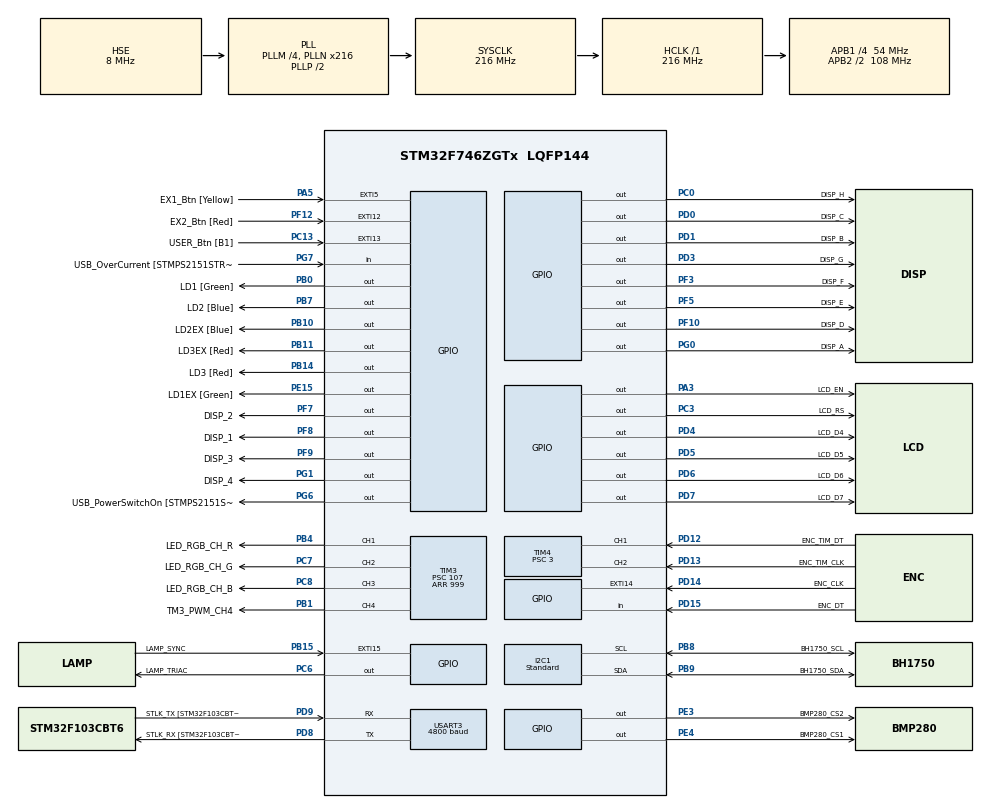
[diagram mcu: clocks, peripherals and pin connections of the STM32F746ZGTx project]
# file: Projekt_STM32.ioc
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ARM.CMSIS.5.7.0.CMSISJjCORE=true
ARM.CMSIS.5.7.0.CMSISJjDSP=Library
I2C1.I2C_Speed_Mode=I2C_Standard
I2C1.Timing=0x20404768
Mcu.Family=STM32F7
Mcu.Name=STM32F746ZGTx
Mcu.Package=LQFP144
NVIC.EXTI15_10_IRQn=true\:0\:0\:false\:false\:true\:true\:true
NVIC.EXTI9_5_IRQn=true\:0\:0\:false\:false\:true\:true\:true
NVIC.PriorityGroup=NVIC_PRIORITYGROUP_4
NVIC.TIM2_IRQn=true\:0\:0\:false\:false\:true\:true\:true
NVIC.TIM4_IRQn=true\:0\:0\:false\:false\:true\:true\:true
NVIC.USART3_IRQn=true\:0\:0\:false\:false\:true\:true\:true
PA1.GPIO_Label=RMII_REF_CLK [LAN8742A-CZ-TR_REFCLK0]
PA1.Signal=ETH_REF_CLK
PA10.GPIO_Label=USB_ID
PA10.Signal=USB_OTG_FS_ID
PA11.GPIO_Label=USB_DM
PA11.Signal=USB_OTG_FS_DM
PA12.GPIO_Label=USB_DP
PA12.Signal=USB_OTG_FS_DP
PA13.GPIO_Label=TMS
PA13.Mode=Serial_Wire
PA13.Signal=SYS_JTMS-SWDIO
PA14.GPIO_Label=TCK
PA14.Mode=Serial_Wire
PA14.Signal=SYS_JTCK-SWCLK
PA2.GPIO_Label=RMII_MDIO [LAN8742A-CZ-TR_MDIO]
PA2.Signal=ETH_MDIO
PA3.GPIO_Label=LCD_EN
PA3.Signal=GPIO_Output
PA4.GPIO_Label=OSC_AOUT
PA4.Signal=COMP_DAC1_group
PA5.GPIO_Label=EX1_Btn [Yellow]
PA5.GPIO_ModeDefaultEXTI=GPIO_MODE_IT_FALLING
PA5.Signal=GPXTI5
PA6.GPIO_Label=POT2_AIN
PA6.Signal=ADCx_IN6
PA8.GPIO_Label=USB_SOF [TP1]
PA8.Signal=USB_OTG_FS_SOF
PA9.GPIO_Label=USB_VBUS
PA9.Signal=USB_OTG_FS_VBUS
PB0.GPIO_Label=LD1 [Green]
PB0.Signal=GPIO_Output
PB1.GPIO_Label=TM3_PWM_CH4
PB1.Signal=S_TIM3_CH4
PB10.GPIO_Label=LD2EX [Blue]
PB10.Signal=GPIO_Output
PB11.GPIO_Label=LD3EX [Red]
PB11.Signal=GPIO_Output
PB13.GPIO_Label=RMII_TXD1 [LAN8742A-CZ-TR_TXD1]
PB13.Signal=ETH_TXD1
PB14.GPIO_Label=LD3 [Red]
PB14.Signal=GPIO_Output
PB15.GPIO_Label=LAMP_SYNC
PB15.Signal=GPXTI15
PB3.GPIO_Label=SW0
PB3.Signal=SYS_JTDO-SWO
PB4.GPIO_Label=LED_RGB_CH_R
PB4.Signal=S_TIM3_CH1
PB7.GPIO_Label=LD2 [Blue]
PB7.Signal=GPIO_Output
PB8.GPIO_Label=BH1750_SCL
PB8.Mode=I2C
PB8.Signal=I2C1_SCL
PB9.GPIO_Label=BH1750_SDA
PB9.Mode=I2C
PB9.Signal=I2C1_SDA
PC0.GPIO_Label=DISP_H
PC0.GPIO_ModeDefaultOutputPP=GPIO_MODE_OUTPUT_OD
PC0.GPIO_PuPd=GPIO_PULLUP
PC0.Signal=GPIO_Output
PC1.GPIO_Label=RMII_MDC [LAN8742A-CZ-TR_MDC]
PC1.Signal=ETH_MDC
PC13.GPIO_Label=USER_Btn [B1]
PC13.Signal=GPXTI13
PC14/OSC32_IN.Mode=LSE-External-Oscillator
PC14/OSC32_IN.Signal=RCC_OSC32_IN
PC15/OSC32_OUT.Mode=LSE-External-Oscillator
PC15/OSC32_OUT.Signal=RCC_OSC32_OUT
PC2.GPIO_Label=POT1_AIN
PC2.Signal=ADCx_IN12
PC3.GPIO_Label=LCD_RS
PC3.Signal=GPIO_Output
PC4.GPIO_Label=RMII_RXD0 [LAN8742A-CZ-TR_RXD0]
PC4.Signal=ETH_RXD0
PC5.GPIO_Label=RMII_RXD1 [LAN8742A-CZ-TR_RXD1]
PC5.Signal=ETH_RXD1
PC6.GPIO_Label=LAMP_TRIAC
PC6.GPIO_Speed=GPIO_SPEED_FREQ_HIGH
PC6.Signal=GPIO_Output
PC7.GPIO_Label=LED_RGB_CH_G
PC7.Signal=S_TIM3_CH2
PC8.GPIO_Label=LED_RGB_CH_B
PC8.Signal=S_TIM3_CH3
PD0.GPIO_Label=DISP_C
PD0.GPIO_ModeDefaultOutputPP=GPIO_MODE_OUTPUT_OD
PD0.GPIO_PuPd=GPIO_PULLUP
PD0.Signal=GPIO_Output
PD1.GPIO_Label=DISP_B
PD1.GPIO_ModeDefaultOutputPP=GPIO_MODE_OUTPUT_OD
PD1.GPIO_PuPd=GPIO_PULLUP
PD1.Signal=GPIO_Output
PD12.GPIO_Label=ENC_TIM_DT
PD12.Signal=S_TIM4_CH1
PD13.GPIO_Label=ENC_TIM_CLK
PD13.Signal=S_TIM4_CH2
PD14.GPIO_Label=ENC_CLK
PD14.GPIO_ModeDefaultEXTI=GPIO_MODE_IT_FALLING
PD14.Signal=GPXTI14
PD15.GPIO_Label=ENC_DT
PD15.Signal=GPIO_Input
PD3.GPIO_Label=DISP_G
PD3.GPIO_ModeDefaultOutputPP=GPIO_MODE_OUTPUT_OD
PD3.GPIO_PuPd=GPIO_PULLUP
PD3.Signal=GPIO_Output
PD4.GPIO_Label=LCD_D4
PD4.Signal=GPIO_Output
PD5.GPIO_Label=LCD_D5
PD5.Signal=GPIO_Output
PD6.GPIO_Label=LCD_D6
PD6.Signal=GPIO_Output
PD7.GPIO_Label=LCD_D7
PD7.Signal=GPIO_Output
PD8.GPIO_Label=STLK_RX [STM32F103CBT6_PA3]
PD8.Mode=Asynchronous
PD8.Signal=USART3_TX
PD9.GPIO_Label=STLK_TX [STM32F103CBT6_PA2]
PD9.Mode=Asynchronous
PD9.Signal=USART3_RX
PE15.GPIO_Label=LD1EX [Green]
PE15.Signal=GPIO_Output
PE2.GPIO_Label=BMP280_SCK
PE2.Signal=SPI4_SCK
PE3.GPIO_Label=BMP280_CS2
PE3.GPIO_Speed=GPIO_SPEED_FREQ_VERY_HIGH
PE3.PinState=GPIO_PIN_SET
PE3.Signal=GPIO_Output
PE4.GPIO_Label=BMP280_CS1
PE4.GPIO_Speed=GPIO_SPEED_FREQ_VERY_HIGH
PE4.PinState=GPIO_PIN_SET
PE4.Signal=GPIO_Output
PE5.GPIO_Label=BMP280_MISO
PE5.Signal=SPI4_MISO
PE6.GPIO_Label=BMP280_MOSI
PE6.Signal=SPI4_MOSI
PF10.GPIO_Label=DISP_D
PF10.GPIO_ModeDefaultOutputPP=GPIO_MODE_OUTPUT_OD
PF10.GPIO_PuPd=GPIO_PULLUP
PF10.Signal=GPIO_Output
PF12.GPIO_Label=EX2_Btn [Red]
PF12.Signal=GPXTI12
PF3.GPIO_Label=DISP_F
PF3.GPIO_ModeDefaultOutputPP=GPIO_MODE_OUTPUT_OD
PF3.GPIO_PuPd=GPIO_PULLUP
PF3.Signal=GPIO_Output
PF5.GPIO_Label=DISP_E
PF5.GPIO_ModeDefaultOutputPP=GPIO_MODE_OUTPUT_OD
PF5.GPIO_PuPd=GPIO_PULLUP
PF5.Signal=GPIO_Output
PF7.GPIO_Label=DISP_2
PF7.Signal=GPIO_Output
PF8.GPIO_Label=DISP_1
PF8.Signal=GPIO_Output
PF9.GPIO_Label=DISP_3
PF9.Signal=GPIO_Output
PG0.GPIO_Label=DISP_A
PG0.GPIO_ModeDefaultOutputPP=GPIO_MODE_OUTPUT_OD
PG0.GPIO_PuPd=GPIO_PULLUP
PG0.Signal=GPIO_Output
PG1.GPIO_Label=DISP_4
PG1.Signal=GPIO_Output
PG11.GPIO_Label=RMII_TX_EN [LAN8742A-CZ-TR_TXEN]
PG11.Signal=ETH_TX_EN
PG13.GPIO_Label=RMII_TXD0 [LAN8742A-CZ-TR_TXD0]
PG13.Signal=ETH_TXD0
PG6.GPIO_Label=USB_PowerSwitchOn [STMPS2151STR_EN]
PG6.Signal=GPIO_Output
PG7.GPIO_Label=USB_OverCurrent [STMPS2151STR_FAULT]
PG7.Signal=GPIO_Input
PH0/OSC_IN.GPIO_Label=MCO [STM32F103CBT6_PA8]
PH0/OSC_IN.Mode=HSE-External-Clock-Source
PH0/OSC_IN.Signal=RCC_OSC_IN
PH1/OSC_OUT.Mode=HSE-External-Clock-Source
PH1/OSC_OUT.Signal=RCC_OSC_OUT
ProjectManager.HeapSize=0x200
ProjectManager.StackSize=0x400
ProjectManager.TargetToolchain=STM32CubeIDE
RCC.48MHZClocksFreq_Value=24000000
RCC.AHBFreq_Value=216000000
RCC.APB1CLKDivider=RCC_HCLK_DIV4
RCC.APB1Freq_Value=54000000
RCC.APB1TimFreq_Value=108000000
RCC.APB2CLKDivider=RCC_HCLK_DIV2
RCC.APB2Freq_Value=108000000
RCC.APB2TimFreq_Value=216000000
RCC.CortexFreq_Value=216000000
RCC.HCLKFreq_Value=216000000
RCC.HSE_VALUE=8000000
RCC.HSI_VALUE=16000000
RCC.PLLM=4
RCC.PLLMUL=RCC_PLL_MUL9
RCC.PLLN=216
RCC.PLLQ=3
RCC.PLLSourceVirtual=RCC_PLLSOURCE_HSE
RCC.PRESCALERUSB=RCC_USBCLKSOURCE_PLL_DIV1_5
RCC.SYSCLKFreq_VALUE=216000000
RCC.SYSCLKSource=RCC_SYSCLKSOURCE_PLLCLK
RCC.SYSCLKSourceVirtual=RCC_SYSCLKSOURCE_PLLCLK
RCC.USBFreq_Value=144000000
RCC.VCOOutputFreq_Value=432000000
SH.ADCx_IN12.0=ADC1_IN12
SH.ADCx_IN6.0=ADC1_IN6
SH.COMP_DAC1_group.0=DAC_OUT1
SH.S_TIM3_CH1.0=TIM3_CH1,PWM Generation1 CH1
SH.S_TIM3_CH2.0=TIM3_CH2,PWM Generation2 CH2
SH.S_TIM3_CH3.0=TIM3_CH3,PWM Generation3 CH3
SH.S_TIM3_CH4.0=TIM3_CH4,PWM Generation4 CH4
SH.S_TIM4_CH1.0=TIM4_CH1,Encoder_Interface
SH.S_TIM4_CH2.0=TIM4_CH2,Encoder_Interface
TIM2.Period=19999
TIM2.Prescaler=107
TIM3.Channel-PWM\ Generation1\ CH1=TIM_CHANNEL_1
TIM3.Channel-PWM\ Generation2\ CH2=TIM_CHANNEL_2
TIM3.Channel-PWM\ Generation3\ CH3=TIM_CHANNEL_3
TIM3.Channel-PWM\ Generation4\ CH4=TIM_CHANNEL_4
TIM3.Period=999
TIM3.Prescaler=107
TIM3.Pulse-PWM\ Generation2\ CH2=0
TIM3.Pulse-PWM\ Generation3\ CH3=0
TIM4.EncoderMode=TIM_ENCODERMODE_TI12
TIM4.IC1Polarity=TIM_ICPOLARITY_FALLING
TIM4.IC2Polarity=TIM_ICPOLARITY_FALLING
TIM4.Period=100
TIM4.Prescaler=3
TIM5.Prescaler=107
USART3.AutoBaudRateEnableParam=UART_ADVFEATURE_AUTOBAUDRATE_DISABLE
USART3.BaudRate=4800
USART3.VirtualMode-Asynchronous=VM_ASYNC
VP_ARM.CMSIS_VS_CMSISJjCORE_5.4.0_5.7.0.Mode=CMSISJjCORE
VP_ARM.CMSIS_VS_CMSISJjDSP_1.8.0_5.7.0.Mode=CMSISJjDSP
VP_TIM2_VS_ClockSourceINT.Mode=Internal
VP_TIM3_VS_ClockSourceINT.Mode=Internal
VP_TIM5_VS_ClockSourceINT.Mode=Internal
board=NUCLEO-F746ZG

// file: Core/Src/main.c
/* USER CODE BEGIN Header */
/**
  ******************************************************************************
  * @file           : main.c
  * @brief          : Main program body
  ******************************************************************************
  * @attention
  *
  * <h2><center>&copy; Copyright (c) 2021 STMicroelectronics.
  * All rights reserved.</center></h2>
  *
  * This software component is licensed by ST under BSD 3-Clause license,
  * the "License"; You may not use this file except in compliance with the
  * License. You may obtain a copy of the License at:
  *                        opensource.org/licenses/BSD-3-Clause
  *
  ******************************************************************************
  */
/* USER CODE END Header */
#include "main.h"
#include "i2c.h"
#include "tim.h"
#include "usart.h"
#include "gpio.h"

/* USER CODE BEGIN Includes */
#include "arm_math.h"
#include "math.h"
#include "sensor_bh1750.h"
#include "sensor_bh1750_config.h"
#include "stdio.h"
#include "lcd.h"
#include "lcd_config.h"
/* USER CODE END Includes */

/* USER CODE BEGIN PTD */
typedef enum {FALSE = 0, TRUE} bool;
/* USER CODE END PTD */

/* USER CODE BEGIN PD */
#define enc_counter_min     2
#define enc_counter_step    1

// size of message
#define SP_MSG_SIZE 3

/* Choose PID parameters */
#define PID_PARAM_KP        3.0f              /* Proporcional */
#define PID_PARAM_KI        1.5f              /* Integral */
#define PID_PARAM_KD        0.0f              /* Derivative */
/* USER CODE END PD */

/* USER CODE BEGIN PV */

uint8_t enc_counter_max = 110;

// Instance of PID
arm_pid_instance_f32 pid;

uint32_t set_point = 0.0f;
uint32_t LED_lux_int = 0;
uint32_t enc_counter = enc_counter_min;

float32_t LED_lux = 0.0f;
float32_t PID_out = 0.0f;
float32_t PID_error = 0.0f;
float32_t PID_error_in_procent = 0.0f;
float32_t d_PWM = 0.0f;

bool BTN_State_1 = FALSE;      // toggle to switch number of LEDs
bool LCD_show_ERROR = FALSE;   // toggle to switch screens on lcd

// USART3
uint8_t tx_n;
uint8_t tx_buffer[50];
uint8_t RX_DATA[SP_MSG_SIZE + 1];

/* USER CODE END PV */

void SystemClock_Config(void);

/* USER CODE BEGIN 0 */
void HAL_TIM_PeriodElapsedCallback(TIM_HandleTypeDef *htim)
{
	if(htim->Instance == TIM2)
	{
		// reading from the sensor and writing the value to the variable LED_lux
		LED_lux = SENSOR_BH1750_ReadLux(&hbh1750_1);
		// convert float32_t to uint32_t
		LED_lux_int = (uint32_t)LED_lux;
		tx_n = sprintf(tx_buffer, "%03x", LED_lux_int);
		// send a message if the condition is true
		if(tx_n == SP_MSG_SIZE )
			 HAL_UART_Transmit(&huart3, (uint8_t*)tx_buffer, tx_n, 1);

		/* CONTROL PROCESS PID */
		PID_error = set_point - LED_lux;
		PID_error_in_procent = (fabs(PID_error) / (enc_counter_max - enc_counter_min)) * 100;
		PID_out = arm_pid_f32(&pid, PID_error);

		// Additional visualization of the correctness of the regulation system
		if(PID_error_in_procent <= 1.0 )
		{
			// if correct turn green LED (LD1) on and turn red LED (LD3) off
			HAL_GPIO_WritePin(LD1_GPIO_Port, LD1_Pin, GPIO_PIN_SET);
			HAL_GPIO_WritePin(LD3_GPIO_Port, LD3_Pin, GPIO_PIN_RESET);
		}
		else
		{
			// if not correct turn green LED (LD1) off and turn red LED (LD3) on
			HAL_GPIO_WritePin(LD3_GPIO_Port, LD3_Pin, GPIO_PIN_SET);
			HAL_GPIO_WritePin(LD1_GPIO_Port, LD1_Pin, GPIO_PIN_RESET);
		}

		// Output saturation
		if(PID_out > 1000)
		{
			d_PWM = 1000;
		}
		else if(PID_out < 0)
		{
			d_PWM = 0;
		}
		else
		{
			d_PWM = PID_out;
		}

		// PWM filling control of diodes
		if(BTN_State_1)
		{
			__HAL_TIM_SET_COMPARE(&htim3, TIM_CHANNEL_1, d_PWM);
			__HAL_TIM_SET_COMPARE(&htim3, TIM_CHANNEL_2, d_PWM);
		}
		else
		{
			__HAL_TIM_SET_COMPARE(&htim3, TIM_CHANNEL_1, 0);
			__HAL_TIM_SET_COMPARE(&htim3, TIM_CHANNEL_2, d_PWM);
		}
	}
}

void HAL_GPIO_EXTI_Callback(uint16_t GPIO_Pin)
{
	if(GPIO_Pin == ENC_CLK_Pin) // Rotary pulser for setting the value of control 'set_point'
	{
		 if (HAL_GPIO_ReadPin(ENC_DT_GPIO_Port, ENC_DT_Pin) == GPIO_PIN_RESET)
		 {
			 enc_counter = (enc_counter >= enc_counter_max) ? enc_counter_max :	(enc_counter + enc_counter_step);
			 set_point = enc_counter;
		 }
		 else
		 {
			 enc_counter = (enc_counter <= enc_counter_min) ? enc_counter_min :	(enc_counter - enc_counter_step);
			 set_point = enc_counter;
		 }
	}
	else if(GPIO_Pin == EX1_Btn_Pin) // button for switching the number of LEDs
	{
		BTN_State_1 = !BTN_State_1;
		if(BTN_State_1 == TRUE)
		{
			enc_counter_max = 180;
		}
		else
		{
			enc_counter_max = 110;
			if(set_point > enc_counter_max)
			{
				set_point = enc_counter_max;
			}
		}
	}
	else if(GPIO_Pin == EX2_Btn_Pin)  // button to switch the lcd screen
	{
		LCD_show_ERROR = !LCD_show_ERROR;
	}
}

void HAL_UART_RxCpltCallback( UART_HandleTypeDef *huart )
{
	if( huart->Instance == USART3 )
	{
		/* Set point value read from serial port . */
		static int UART_set_point;
		/* Number of items successfully filled by 'sscanf '. */
		static int rx_n;
		/* Three - digit hexadecimal number : C- string to integer . */
		rx_n = sscanf((char*)RX_DATA, "%3x", &UART_set_point );
		/* If conversion if successful set set_point value or set control by one or two LEDs . */
		if( rx_n == 1){
			set_point = (uint32_t)UART_set_point;
			enc_counter = (uint32_t)UART_set_point;
		}
		else if( RX_DATA[0] == 'T' && RX_DATA[1] == 'W' && RX_DATA[2] == 'O' ){
			BTN_State_1 = TRUE;
			enc_counter_max = 180;
		}
		else if( RX_DATA[0] == 'O' && RX_DATA[1] == 'N' && RX_DATA[2] == 'E' ){
			BTN_State_1 = FALSE;
			enc_counter_max = 110;
			if(set_point > enc_counter_max)
			{
				set_point = enc_counter_max;
			}
		}
		/* Start listening for the next message . */
		HAL_UART_Receive_IT(&huart3, RX_DATA, SP_MSG_SIZE);
	}
}
/* USER CODE END 0 */

int main(void)
{

  /* MCU Configuration--------------------------------------------------------*/

  /* Reset of all peripherals, Initializes the Flash interface and the Systick. */
  HAL_Init();

  /* Configure the system clock */
  SystemClock_Config();

  /* Initialize all configured peripherals */
  MX_GPIO_Init();
  MX_USART3_UART_Init();
  MX_TIM2_Init();
  MX_TIM3_Init();
  MX_TIM4_Init();
  MX_I2C1_Init();
  MX_TIM5_Init();
  /* USER CODE BEGIN 2 */

  // Sensor init
  SENSOR_BH1750_Init(&hbh1750_1);

  // Starting values
  LED_lux = 2.0f;
  set_point = 2.0;

  /****  PID  ****/
  // Set the PID parameters
  pid.Kp = PID_PARAM_KP;
  pid.Ki = PID_PARAM_KI;
  pid.Kd = PID_PARAM_KD;
  // Init PID with constant period
  arm_pid_init_f32(&pid, 1);
  __HAL_TIM_SET_AUTORELOAD(&htim2, 129999);
  HAL_TIM_Base_Start_IT(&htim2);

  // Init PWM channels of TIM3
  HAL_TIM_PWM_Start(&htim3, TIM_CHANNEL_1);
  HAL_TIM_PWM_Start(&htim3, TIM_CHANNEL_2);

  // Init lcd
  LCD_Init(&hlcd1);

  // USART3
  HAL_UART_Receive_IT(&huart3, RX_DATA, SP_MSG_SIZE);

  /* USER CODE END 2 */

  /* Infinite loop */
  while (1)
  {
	  if(LCD_show_ERROR)
	  {
		  LCD_SetCursor(&hlcd1, 0, 0);
		  LCD_printf(&hlcd1, "ERROR: %5.2f [ ]", PID_error_in_procent);
		  // LCD_SetCursor(&hlcd1, 0, 14);
		  // lcd_write(&hlcd1, &data, 8);
		  LCD_SetCursor(&hlcd1, 1, 0);
		  LCD_printStr(&hlcd1, "               ");
	  }
	  else
	  {
		  LCD_SetCursor(&hlcd1, 0, 0);
		  LCD_printf(&hlcd1, "WYJ: %5.2f [lux] ", (float32_t)LED_lux);
		  LCD_SetCursor(&hlcd1, 1, 0);
		  LCD_printf(&hlcd1, "ZAD: %03d [lux]  ", (uint32_t)set_point);
	  }
	  HAL_Delay(100);
  }
}

void SystemClock_Config(void)
{
  RCC_OscInitTypeDef RCC_OscInitStruct = {0};
  RCC_ClkInitTypeDef RCC_ClkInitStruct = {0};
  RCC_PeriphCLKInitTypeDef PeriphClkInitStruct = {0};

  /** Configure LSE Drive Capability
  */
  HAL_PWR_EnableBkUpAccess();
  /** Configure the main internal regulator output voltage
  */
  __HAL_RCC_PWR_CLK_ENABLE();
  __HAL_PWR_VOLTAGESCALING_CONFIG(PWR_REGULATOR_VOLTAGE_SCALE1);
  /** Initializes the RCC Oscillators according to the specified parameters
  * in the RCC_OscInitTypeDef structure.
  */
  RCC_OscInitStruct.OscillatorType = RCC_OSCILLATORTYPE_HSE;
  RCC_OscInitStruct.HSEState = RCC_HSE_BYPASS;
  RCC_OscInitStruct.PLL.PLLState = RCC_PLL_ON;
  RCC_OscInitStruct.PLL.PLLSource = RCC_PLLSOURCE_HSE;
  RCC_OscInitStruct.PLL.PLLM = 4;
  RCC_OscInitStruct.PLL.PLLN = 216;
  RCC_OscInitStruct.PLL.PLLP = RCC_PLLP_DIV2;
  RCC_OscInitStruct.PLL.PLLQ = 3;
  if (HAL_RCC_OscConfig(&RCC_OscInitStruct) != HAL_OK)
  {
    Error_Handler();
  }
  /** Activate the Over-Drive mode
  */
  if (HAL_PWREx_EnableOverDrive() != HAL_OK)
  {
    Error_Handler();
  }
  /** Initializes the CPU, AHB and APB buses clocks
  */
  RCC_ClkInitStruct.ClockType = RCC_CLOCKTYPE_HCLK|RCC_CLOCKTYPE_SYSCLK
                              |RCC_CLOCKTYPE_PCLK1|RCC_CLOCKTYPE_PCLK2;
  RCC_ClkInitStruct.SYSCLKSource = RCC_SYSCLKSOURCE_PLLCLK;
  RCC_ClkInitStruct.AHBCLKDivider = RCC_SYSCLK_DIV1;
  RCC_ClkInitStruct.APB1CLKDivider = RCC_HCLK_DIV4;
  RCC_ClkInitStruct.APB2CLKDivider = RCC_HCLK_DIV2;

  if (HAL_RCC_ClockConfig(&RCC_ClkInitStruct, FLASH_LATENCY_7) != HAL_OK)
  {
    Error_Handler();
  }
  PeriphClkInitStruct.PeriphClockSelection = RCC_PERIPHCLK_USART3|RCC_PERIPHCLK_I2C1;
  PeriphClkInitStruct.Usart3ClockSelection = RCC_USART3CLKSOURCE_PCLK1;
  PeriphClkInitStruct.I2c1ClockSelection = RCC_I2C1CLKSOURCE_PCLK1;
  if (HAL_RCCEx_PeriphCLKConfig(&PeriphClkInitStruct) != HAL_OK)
  {
    Error_Handler();
  }
}

void Error_Handler(void)
{
  __disable_irq();
  while (1)
  {
  }
}

/************************ (C) COPYRIGHT STMicroelectronics *****END OF FILE****/
